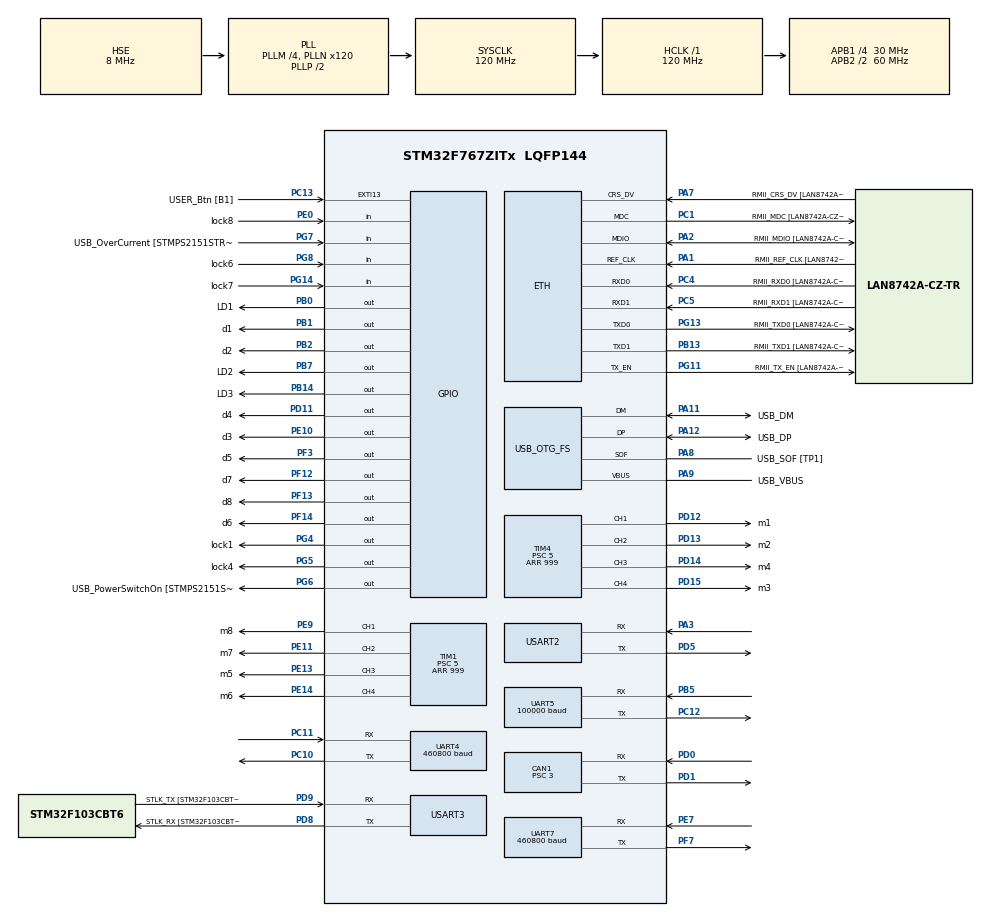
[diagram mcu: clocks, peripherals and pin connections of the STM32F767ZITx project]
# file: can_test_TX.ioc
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CAN1.BS1=CAN_BS1_7TQ
CAN1.BS2=CAN_BS2_2TQ
CAN1.CalculateBaudRate=1000000
CAN1.CalculateTimeBit=1000
CAN1.CalculateTimeQuantum=100.0
CAN1.NART=ENABLE
CAN1.Prescaler=3
CORTEX_M7.default_mode_Activation=1
Dma.Request0=UART5_RX
Dma.Request1=UART4_RX
Dma.Request2=UART7_RX
Dma.UART4_RX.1.Direction=DMA_PERIPH_TO_MEMORY
Dma.UART4_RX.1.FIFOMode=DMA_FIFOMODE_DISABLE
Dma.UART4_RX.1.Instance=DMA1_Stream2
Dma.UART4_RX.1.MemDataAlignment=DMA_MDATAALIGN_BYTE
Dma.UART4_RX.1.MemInc=DMA_MINC_ENABLE
Dma.UART4_RX.1.Mode=DMA_CIRCULAR
Dma.UART4_RX.1.PeriphDataAlignment=DMA_PDATAALIGN_BYTE
Dma.UART4_RX.1.PeriphInc=DMA_PINC_DISABLE
Dma.UART4_RX.1.Priority=DMA_PRIORITY_LOW
Dma.UART5_RX.0.Direction=DMA_PERIPH_TO_MEMORY
Dma.UART5_RX.0.FIFOMode=DMA_FIFOMODE_DISABLE
Dma.UART5_RX.0.Instance=DMA1_Stream0
Dma.UART5_RX.0.MemDataAlignment=DMA_MDATAALIGN_BYTE
Dma.UART5_RX.0.MemInc=DMA_MINC_ENABLE
Dma.UART5_RX.0.Mode=DMA_NORMAL
Dma.UART5_RX.0.PeriphDataAlignment=DMA_PDATAALIGN_BYTE
Dma.UART5_RX.0.PeriphInc=DMA_PINC_DISABLE
Dma.UART5_RX.0.Priority=DMA_PRIORITY_LOW
Dma.UART7_RX.2.Direction=DMA_PERIPH_TO_MEMORY
Dma.UART7_RX.2.FIFOMode=DMA_FIFOMODE_DISABLE
Dma.UART7_RX.2.Instance=DMA1_Stream3
Dma.UART7_RX.2.MemDataAlignment=DMA_MDATAALIGN_BYTE
Dma.UART7_RX.2.MemInc=DMA_MINC_ENABLE
Dma.UART7_RX.2.Mode=DMA_CIRCULAR
Dma.UART7_RX.2.PeriphDataAlignment=DMA_PDATAALIGN_BYTE
Dma.UART7_RX.2.PeriphInc=DMA_PINC_DISABLE
Dma.UART7_RX.2.Priority=DMA_PRIORITY_LOW
ETH.MediaInterface=HAL_ETH_RMII_MODE
ETH.PHY_Name=LAN8742A_PHY_ADDRESS
ETH.PHY_Value=0
ETH.PhyAddress=0
Mcu.Family=STM32F7
Mcu.Name=STM32F767ZITx
Mcu.Package=LQFP144
NVIC.CAN1_RX0_IRQn=true\:0\:0\:false\:false\:true\:true\:true\:true
NVIC.CAN1_RX1_IRQn=true\:0\:0\:false\:false\:true\:true\:true\:true
NVIC.DMA1_Stream0_IRQn=true\:0\:0\:false\:false\:true\:false\:true\:true
NVIC.DMA1_Stream2_IRQn=true\:0\:0\:false\:false\:true\:false\:true\:true
NVIC.DMA1_Stream3_IRQn=true\:0\:0\:false\:false\:true\:false\:true\:true
NVIC.PriorityGroup=NVIC_PRIORITYGROUP_4
NVIC.TIM4_IRQn=true\:0\:0\:false\:false\:true\:true\:true\:true
NVIC.UART4_IRQn=true\:0\:0\:false\:false\:true\:true\:true\:true
NVIC.UART5_IRQn=true\:0\:0\:false\:false\:true\:true\:true\:true
NVIC.UART7_IRQn=true\:0\:0\:false\:false\:true\:true\:true\:true
PA1.GPIO_Label=RMII_REF_CLK [LAN8742A-CZ-TR_REFCLK0]
PA1.Mode=RMII
PA1.Signal=ETH_REF_CLK
PA10.GPIO_Label=USB_ID
PA10.Signal=USB_OTG_FS_ID
PA11.GPIO_Label=USB_DM
PA11.Mode=Device_Only
PA11.Signal=USB_OTG_FS_DM
PA12.GPIO_Label=USB_DP
PA12.Mode=Device_Only
PA12.Signal=USB_OTG_FS_DP
PA13.GPIO_Label=TMS
PA13.Mode=Serial_Wire
PA13.Signal=SYS_JTMS-SWDIO
PA14.GPIO_Label=TCK
PA14.Mode=Serial_Wire
PA14.Signal=SYS_JTCK-SWCLK
PA2.GPIO_Label=RMII_MDIO [LAN8742A-CZ-TR_MDIO]
PA2.Mode=RMII
PA2.Signal=ETH_MDIO
PA3.Mode=Asynchronous
PA3.Signal=USART2_RX
PA7.GPIO_Label=RMII_CRS_DV [LAN8742A-CZ-TR_CRS_DV]
PA7.Mode=RMII
PA7.Signal=ETH_CRS_DV
PA8.GPIO_Label=USB_SOF [TP1]
PA8.Mode=Activate_SOF_FS
PA8.Signal=USB_OTG_FS_SOF
PA9.GPIO_Label=USB_VBUS
PA9.Mode=Activate_VBUS
PA9.Signal=USB_OTG_FS_VBUS
PB0.GPIO_Label=LD1
PB0.Signal=GPIO_Output
PB1.GPIO_Label=d1
PB1.Signal=GPIO_Output
PB13.GPIO_Label=RMII_TXD1 [LAN8742A-CZ-TR_TXD1]
PB13.Mode=RMII
PB13.Signal=ETH_TXD1
PB14.GPIO_Label=LD3
PB14.Signal=GPIO_Output
PB2.GPIO_Label=d2
PB2.Signal=GPIO_Output
PB3.GPIO_Label=SWO
PB3.Signal=SYS_JTDO-SWO
PB5.Mode=Asynchronous
PB5.Signal=UART5_RX
PB7.GPIO_Label=LD2
PB7.Signal=GPIO_Output
PC1.GPIO_Label=RMII_MDC [LAN8742A-CZ-TR_MDC]
PC1.Mode=RMII
PC1.Signal=ETH_MDC
PC10.Mode=Asynchronous
PC10.Signal=UART4_TX
PC11.Mode=Asynchronous
PC11.Signal=UART4_RX
PC12.Mode=Asynchronous
PC12.Signal=UART5_TX
PC13.GPIO_Label=USER_Btn [B1]
PC13.Signal=GPXTI13
PC14/OSC32_IN.Mode=LSE-External-Oscillator
PC14/OSC32_IN.Signal=RCC_OSC32_IN
PC15/OSC32_OUT.Mode=LSE-External-Oscillator
PC15/OSC32_OUT.Signal=RCC_OSC32_OUT
PC4.GPIO_Label=RMII_RXD0 [LAN8742A-CZ-TR_RXD0]
PC4.Mode=RMII
PC4.Signal=ETH_RXD0
PC5.GPIO_Label=RMII_RXD1 [LAN8742A-CZ-TR_RXD1]
PC5.Mode=RMII
PC5.Signal=ETH_RXD1
PD0.Mode=CAN_Activate
PD0.Signal=CAN1_RX
PD1.Mode=CAN_Activate
PD1.Signal=CAN1_TX
PD11.GPIO_Label=d4
PD11.Signal=GPIO_Output
PD12.GPIO_Label=m1
PD12.Signal=S_TIM4_CH1
PD13.GPIO_Label=m2
PD13.Signal=S_TIM4_CH2
PD14.GPIO_Label=m4
PD14.Signal=S_TIM4_CH3
PD15.GPIO_Label=m3
PD15.Signal=S_TIM4_CH4
PD5.Mode=Asynchronous
PD5.Signal=USART2_TX
PD8.GPIO_Label=STLK_RX [STM32F103CBT6_PA3]
PD8.Mode=Asynchronous
PD8.Signal=USART3_TX
PD9.GPIO_Label=STLK_TX [STM32F103CBT6_PA2]
PD9.Mode=Asynchronous
PD9.Signal=USART3_RX
PE0.GPIO_Label=lock8
PE0.GPIO_PuPd=GPIO_PULLUP
PE0.Signal=GPIO_Input
PE10.GPIO_Label=d3
PE10.Signal=GPIO_Output
PE11.GPIO_Label=m7
PE11.Signal=S_TIM1_CH2
PE13.GPIO_Label=m5
PE13.Signal=S_TIM1_CH3
PE14.GPIO_Label=m6
PE14.Signal=S_TIM1_CH4
PE7.Mode=Asynchronous
PE7.Signal=UART7_RX
PE9.GPIO_Label=m8
PE9.Signal=S_TIM1_CH1
PF12.GPIO_Label=d7
PF12.Signal=GPIO_Output
PF13.GPIO_Label=d8
PF13.Signal=GPIO_Output
PF14.GPIO_Label=d6
PF14.Signal=GPIO_Output
PF3.GPIO_Label=d5
PF3.Signal=GPIO_Output
PF7.Mode=Asynchronous
PF7.Signal=UART7_TX
PG11.GPIO_Label=RMII_TX_EN [LAN8742A-CZ-TR_TXEN]
PG11.Mode=RMII
PG11.Signal=ETH_TX_EN
PG13.GPIO_Label=RMII_TXD0 [LAN8742A-CZ-TR_TXD0]
PG13.Mode=RMII
PG13.Signal=ETH_TXD0
PG14.GPIO_Label=lock7
PG14.GPIO_PuPd=GPIO_PULLUP
PG14.Signal=GPIO_Input
PG4.GPIO_Label=lock1
PG4.Signal=GPIO_Output
PG5.GPIO_Label=lock4
PG5.Signal=GPIO_Output
PG6.GPIO_Label=USB_PowerSwitchOn [STMPS2151STR_EN]
PG6.Signal=GPIO_Output
PG7.GPIO_Label=USB_OverCurrent [STMPS2151STR_FAULT]
PG7.Signal=GPIO_Input
PG8.GPIO_Label=lock6
PG8.GPIO_PuPd=GPIO_PULLUP
PG8.Signal=GPIO_Input
PH0/OSC_IN.GPIO_Label=MCO [STM32F103CBT6_PA8]
PH0/OSC_IN.Mode=HSE-External-Clock-Source
PH0/OSC_IN.Signal=RCC_OSC_IN
PH1/OSC_OUT.Mode=HSE-External-Clock-Source
PH1/OSC_OUT.Signal=RCC_OSC_OUT
ProjectManager.HeapSize=0x200
ProjectManager.StackSize=0x400
ProjectManager.TargetToolchain=CMake
RCC.48MHZClocksFreq_Value=24000000
RCC.AHBFreq_Value=120000000
RCC.APB1CLKDivider=RCC_HCLK_DIV4
RCC.APB1Freq_Value=30000000
RCC.APB1TimFreq_Value=60000000
RCC.APB2CLKDivider=RCC_HCLK_DIV2
RCC.APB2Freq_Value=60000000
RCC.APB2TimFreq_Value=120000000
RCC.CortexFreq_Value=120000000
RCC.HCLKFreq_Value=120000000
RCC.HSE_VALUE=8000000
RCC.HSI_VALUE=16000000
RCC.PLLM=4
RCC.PLLMUL=RCC_PLL_MUL9
RCC.PLLN=120
RCC.PLLQ=5
RCC.PRESCALERUSB=RCC_USBCLKSOURCE_PLL_DIV1_5
RCC.SYSCLKFreq_VALUE=120000000
RCC.SYSCLKSource=RCC_SYSCLKSOURCE_PLLCLK
RCC.SYSCLKSourceVirtual=RCC_SYSCLKSOURCE_PLLCLK
RCC.USBFreq_Value=48000000
RCC.VCOOutputFreq_Value=240000000
SH.S_TIM1_CH1.0=TIM1_CH1,PWM Generation1 CH1
SH.S_TIM1_CH2.0=TIM1_CH2,PWM Generation2 CH2
SH.S_TIM1_CH3.0=TIM1_CH3,PWM Generation3 CH3
SH.S_TIM1_CH4.0=TIM1_CH4,PWM Generation4 CH4
SH.S_TIM4_CH1.0=TIM4_CH1,PWM Generation1 CH1
SH.S_TIM4_CH2.0=TIM4_CH2,PWM Generation2 CH2
SH.S_TIM4_CH3.0=TIM4_CH3,PWM Generation3 CH3
SH.S_TIM4_CH4.0=TIM4_CH4,PWM Generation4 CH4
TIM1.Channel-PWM\ Generation1\ CH1=TIM_CHANNEL_1
TIM1.Channel-PWM\ Generation2\ CH2=TIM_CHANNEL_2
TIM1.Channel-PWM\ Generation3\ CH3=TIM_CHANNEL_3
TIM1.Channel-PWM\ Generation4\ CH4=TIM_CHANNEL_4
TIM1.Period=999
TIM1.Prescaler=5
TIM4.Channel-PWM\ Generation1\ CH1=TIM_CHANNEL_1
TIM4.Channel-PWM\ Generation2\ CH2=TIM_CHANNEL_2
TIM4.Channel-PWM\ Generation3\ CH3=TIM_CHANNEL_3
TIM4.Channel-PWM\ Generation4\ CH4=TIM_CHANNEL_4
TIM4.Period=999
TIM4.Prescaler=5
UART4.BaudRate=460800
UART4.WordLength=WORDLENGTH_8B
UART5.BaudRate=100000
UART5.Parity=PARITY_EVEN
UART5.RxPinLevelInvertParam=UART_ADVFEATURE_RXINV_ENABLE
UART5.StopBits=UART_STOPBITS_2
UART5.WordLength=WORDLENGTH_9B
UART7.BaudRate=460800
USART2.VirtualMode-Asynchronous=VM_ASYNC
USART3.VirtualMode-Asynchronous=VM_ASYNC
USB_OTG_FS.VirtualMode=Device_Only
VP_TIM1_VS_ClockSourceINT.Mode=Internal
VP_TIM4_VS_ClockSourceINT.Mode=Internal
board=NUCLEO-F767ZI

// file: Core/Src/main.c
/* USER CODE BEGIN Header */
/**
 ******************************************************************************
 * @file           : main.c
 * @brief          : Main program body
 ******************************************************************************
 * @attention
 *
 * Copyright (c) 2026 STMicroelectronics.
 * All rights reserved.
 *
 * This software is licensed under terms that can be found in the LICENSE file
 * in the root directory of this software component.
 * If no LICENSE file comes with this software, it is provided AS-IS.
 *
 ******************************************************************************
 */
/* USER CODE END Header */
#include "main.h"
#include "string.h"

/* USER CODE BEGIN Includes */
#include "sbus.h"
#include "function.h"
#include "sbus_handler.h"
#include "lidar_sensor.h"
#include <math.h>
#include <stdint.h>
#include <stdio.h>
#include <stdlib.h>

/* USER CODE END Includes */

#if defined ( __ICCARM__ ) /*!< IAR Compiler */
#pragma location=0x2007c000
ETH_DMADescTypeDef  DMARxDscrTab[ETH_RX_DESC_CNT]; /* Ethernet Rx DMA Descriptors */
#pragma location=0x2007c0a0
ETH_DMADescTypeDef  DMATxDscrTab[ETH_TX_DESC_CNT]; /* Ethernet Tx DMA Descriptors */

#elif defined ( __CC_ARM )  /* MDK ARM Compiler */

__attribute__((at(0x2007c000))) ETH_DMADescTypeDef  DMARxDscrTab[ETH_RX_DESC_CNT]; /* Ethernet Rx DMA Descriptors */
__attribute__((at(0x2007c0a0))) ETH_DMADescTypeDef  DMATxDscrTab[ETH_TX_DESC_CNT]; /* Ethernet Tx DMA Descriptors */

#elif defined ( __GNUC__ ) /* GNU Compiler */

ETH_DMADescTypeDef DMARxDscrTab[ETH_RX_DESC_CNT] __attribute__((section(".RxDecripSection"))); /* Ethernet Rx DMA Descriptors */
ETH_DMADescTypeDef DMATxDscrTab[ETH_TX_DESC_CNT] __attribute__((section(".TxDecripSection")));   /* Ethernet Tx DMA Descriptors */
#endif

ETH_TxPacketConfig TxConfig;

CAN_HandleTypeDef hcan1;

ETH_HandleTypeDef heth;

TIM_HandleTypeDef htim1;
TIM_HandleTypeDef htim4;

UART_HandleTypeDef huart4;
UART_HandleTypeDef huart5;
UART_HandleTypeDef huart7;
UART_HandleTypeDef huart2;
UART_HandleTypeDef huart3;
DMA_HandleTypeDef hdma_uart4_rx;
DMA_HandleTypeDef hdma_uart5_rx;
DMA_HandleTypeDef hdma_uart7_rx;

PCD_HandleTypeDef hpcd_USB_OTG_FS;

/* USER CODE BEGIN PV */

int rx;   // rxスティック
int ly;   // lyスティック
int ry;   // ryスティック
int lx;   // lxスティック

int Lmayu;
int Rmayu;
int Ltuno;
int Rtuno;

volatile int m1;
volatile int m2;
volatile int m3;
volatile int m4;

int d1;
int d2;
int d3;
int d4;

volatile int16_t PV1 = 0; // 現在値
volatile int16_t PV2 = 0; // 現在値
volatile int16_t PV3 = 0; // 現在値
volatile int16_t PV4 = 0; // 現在値
volatile int16_t PV5 = 0; // 現在値
volatile int16_t PV6 = 0; // 現在値

int dir1 = 0;
int dir2 = 0;
int dir3 = 0;
int dir4 = 0;

int pwm1 = 0;
int pwm2 = 0;
int pwm3 = 0;
int pwm4 = 0;
int pwm5 = 0;
int pwm6 = 0;
int pwm7 = 0;
int pwm8 = 0;

int maxpwm = (1000 * 7) / 10; // 最大PWM値を0.7倍にして減速させる
//int test;

int maxmv = 150;

int stop_flag = 0;
int timer_flag = 0;
int reset_flag = 0;
int set_flag = 0;

int roller_dir = 0; // ローラーの回転方向を保持する変数

int dummy = 0;

//lidar
// UART4 用（センサー1）
uint8_t rx_dma_buf4[DMA_BUF_SIZE];
uint16_t distance4 = 0;

// UART7 用（センサー2）
uint8_t rx_dma_buf7[DMA_BUF_SIZE];
uint16_t distance7 = 0;

// 自動モード時の仮想スティック出力
int auto_ly = 0; // 左右移動
int auto_rx = 0; // 旋回

//timercount
uint32_t time1 = 0;
uint32_t time2 = 0;
//uint32_t time3 = 0;
uint32_t now = 0;

uint32_t last_can_rx = 0;

// SBUS

uint8_t sbus_rxbuf[SBUS_FRAME_LEN];
uint8_t sbus_frame[SBUS_FRAME_LEN];
volatile uint16_t SBUS_CH[16];
uint8_t SBUS_Failsafe = 0;
uint8_t SBUS_LostFrame = 0;

// RX割り込みコールバック関数で使用
volatile uint8_t use_data[8];

/* USER CODE END PV */

void SystemClock_Config(void);
static void MPU_Config(void);
static void MX_GPIO_Init(void);
static void MX_DMA_Init(void);
static void MX_CAN1_Init(void);
static void MX_ETH_Init(void);
static void MX_USB_OTG_FS_PCD_Init(void);
static void MX_UART5_Init(void);
static void MX_USART2_UART_Init(void);
static void MX_USART3_UART_Init(void);
static void MX_TIM4_Init(void);
static void MX_TIM1_Init(void);
static void MX_UART4_Init(void);
static void MX_UART7_Init(void);
/* USER CODE BEGIN PFP */

// if(sbus_frame[0] != 0x0F)
/* USER CODE END PFP */

int main(void)
{

  /* USER CODE BEGIN 1 */

    setbuf(stdout, NULL);
  /* USER CODE END 1 */

  /* MPU Configuration--------------------------------------------------------*/
  MPU_Config();

  /* MCU Configuration--------------------------------------------------------*/

  /* Reset of all peripherals, Initializes the Flash interface and the Systick. */
  HAL_Init();

  /* Configure the system clock */
  SystemClock_Config();

  /* Initialize all configured peripherals */
  MX_GPIO_Init();
  MX_DMA_Init();
  MX_CAN1_Init();
  MX_ETH_Init();
  MX_USB_OTG_FS_PCD_Init();
  MX_UART5_Init();
  MX_USART2_UART_Init();
  MX_USART3_UART_Init();
  MX_TIM4_Init();
  MX_TIM1_Init();
  MX_UART4_Init();
  MX_UART7_Init();
  /* USER CODE BEGIN 2 */
    HAL_CAN_Start(&hcan1); // CANstart
    HAL_CAN_ActivateNotification(&hcan1,
    CAN_IT_RX_FIFO0_MSG_PENDING); // 割り込み有効

    HAL_TIM_PWM_Start(&htim4, TIM_CHANNEL_1);
    HAL_TIM_PWM_Start(&htim4, TIM_CHANNEL_2);
    HAL_TIM_PWM_Start(&htim4, TIM_CHANNEL_3);
    HAL_TIM_PWM_Start(&htim4, TIM_CHANNEL_4);

    HAL_TIM_PWM_Start(&htim1, TIM_CHANNEL_1);
    HAL_TIM_PWM_Start(&htim1, TIM_CHANNEL_2);
    HAL_TIM_PWM_Start(&htim1, TIM_CHANNEL_3);
    HAL_TIM_PWM_Start(&htim1, TIM_CHANNEL_4);

    SBUS_Init(); // ★【修正】SBUSの受信を開始

  HAL_Delay(100); // センサーの起動待ち

  // 1. センサーに「Start Reading（測定開始）」のコマンドだけを送る
  uint8_t startCmd[] = {0x5A, 0x0A, 0x02, 0x02, 0x00, 0xF1};
  // センサー1 (UART4) に送信 & DMAスタート
  HAL_UART_Transmit(&huart4, startCmd, sizeof(startCmd), HAL_MAX_DELAY);
  HAL_UART_Transmit(&huart7, startCmd, sizeof(startCmd), HAL_MAX_DELAY);
  HAL_Delay(20);
  HAL_UART_Receive_DMA(&huart4, rx_dma_buf4, DMA_BUF_SIZE);
  HAL_UART_Receive_DMA(&huart7, rx_dma_buf7, DMA_BUF_SIZE);

  /* USER CODE END 2 */

  /* Infinite loop */
  /* USER CODE BEGIN WHILE */
    while (1) {
      now = HAL_GetTick();
        PV1 = map(use_data[0],0, 255, 0, 1000);
        PV2 = map(use_data[1],0, 255, 0, 1000);
        PV3 = map(use_data[2],0, 255, 0, 1000);
        PV4 = map(use_data[3],0, 255, 0, 1000);
        PV5 = map(use_data[4],0, 255, 0, 1000);
        PV6 = map(use_data[5],0, 255, 0, 1000);

        sbus();//SBUSの値の加工

        lidar();//lidarの値の読み取り

        if(HAL_GPIO_ReadPin(lock6_GPIO_Port, lock6_Pin) == 0){
          stop_flag = 1;
        }
        if(HAL_GPIO_ReadPin(lock7_GPIO_Port, lock7_Pin) == 0){
          reset_flag = 1;
        }
        if(HAL_GPIO_ReadPin(lock8_GPIO_Port, lock8_Pin) == 0){
          set_flag = 1;
        }

    // 足回り
   if (now - time1 >= 20) {
      if(Rtuno == 1) {
        // 手動モード
        auto_mode(distance4 ,distance7, 1,1000); // ★追加：裏でPIDの記憶をリセットしておく
        motor_control(m1, PV1, maxmv, maxmv, maxpwm, &pwm1, &dir1);
        motor_control(m2, PV2, maxmv, maxmv, maxpwm, &pwm2, &dir2);
        motor_control(m3, PV3, maxmv, maxmv, maxpwm, &pwm3, &dir3);
        motor_control(m4, PV4, maxmv, maxmv, maxpwm, &pwm4, &dir4);
      } else if(Rtuno == 0){
        auto_mode(distance4 - 11, distance7 - 38, 0,(distance4  + distance7 -49) / 2);
        int gauto_m1 =  ly - lx + auto_rx;
        int gauto_m2 = -ly - lx + auto_rx;
        int gauto_m3 = -ly + lx + auto_rx;
        int gauto_m4 =  ly + lx + auto_rx;

        motor_control(gauto_m1, PV1, maxmv, maxmv, maxpwm, &pwm1, &dir1);
        motor_control(gauto_m2, PV2, maxmv, maxmv, maxpwm, &pwm2, &dir2);
        motor_control(gauto_m3, PV3, maxmv, maxmv, maxpwm, &pwm3, &dir3);
        motor_control(gauto_m4, PV4, maxmv, maxmv, maxpwm, &pwm4, &dir4);

      }else if(Rtuno == -1) {
        // 自動モード
        auto_mode(distance4 + -11, distance7 - 38, 0,500); // ★修正：通常計算

        // 自動計算された ly, rx を使って m1〜m4 を計算（あなたの式を再利用！）
        int auto_m1 =  -auto_ly - lx + auto_rx;
        int auto_m2 =   auto_ly - lx + auto_rx;
        int auto_m3 =   auto_ly + lx + auto_rx;
        int auto_m4 =  -auto_ly + lx + auto_rx;

        // 計算結果をモーターに出力
        motor_control(auto_m1, PV1, maxmv, maxmv, maxpwm, &pwm1, &dir1);
        motor_control(auto_m2, PV2, maxmv, maxmv, maxpwm, &pwm2, &dir2);
        motor_control(auto_m3, PV3, maxmv, maxmv, maxpwm, &pwm3, &dir3);
        motor_control(auto_m4, PV4, maxmv, maxmv, maxpwm, &pwm4, &dir4);
      }

      roller();

      time1 = now;
    }

    // 電磁弁
    if (Rmayu == 0) {
        HAL_GPIO_WritePin(lock1_GPIO_Port, lock1_Pin, 0);
        HAL_GPIO_WritePin(lock4_GPIO_Port, lock4_Pin, 0);
    } else if (Rmayu == 1) {
        HAL_GPIO_WritePin(lock1_GPIO_Port, lock1_Pin, 1);
        HAL_GPIO_WritePin(lock4_GPIO_Port, lock4_Pin, 0);
    } else if (Rmayu == -1) {
        HAL_GPIO_WritePin(lock1_GPIO_Port, lock1_Pin, 0);
        HAL_GPIO_WritePin(lock4_GPIO_Port, lock4_Pin, 1);
    }

    safety(); // 安全機能の呼び出し

    // デバッグ用のprintf、100msごとに出力
    uint32_t time = 0;
    if (HAL_GetTick() - time >= 100) {
      //printf("data0:%d data1:%d data2:%d data3:%d data4:%d data5:%d data6:%d data7:%d\n", use_data[0], use_data[1], use_data[2], use_data[3], use_data[4], use_data[5], use_data[6], use_data[7]);
       //printf("0:%d 1:%d 2:%d 3:%d 4:%d 5:%d 6:%d 7:%d\n", sbus0, sbus1, sbus2, sbus3 ,SBUS_CH[4], SBUS_CH[5], SBUS_CH[6], SBUS_CH[7]);
      // printf("PV1:%d PV2:%d  PV3:%d PV4:%d m1:%d m2:%d m3:%d m4:%d lastMV1:%.1f lastMV2:%.1f lastMV3:%.1f lastMV4:%.1f\n", PV1, PV2, PV3, PV4, m1, m2, m3, m4, (float)lastMV1, (float)lastMV2, (float)lastMV3, (float)lastMV4);
      // printf("m1:%d d1:%d m2:%d d2:%d m3:%d d3:%d m4:%d d4:%d ltsw:%d rtsw:%d pwm1 %d\n", m1, d1, m2, d2, m3, d3, m4, d4,ltsw,rtsw,pwm1);
      //printf("stop_flag: %d\n", stop_flag);
      //printf("distance4: %d distance7: %d\n", distance4, distance7);
      printf("pwm5:%d pwm6:%d PV5:%d  PV6:%d\n",pwm5,pwm6,PV5,PV6);
      time = HAL_GetTick(); // 時間更新
    }

    //motor
    __HAL_TIM_SET_COMPARE(&htim4, TIM_CHANNEL_4, pwm1); // m1 LF
    HAL_GPIO_WritePin(d3_GPIO_Port, d3_Pin, dir1);
    __HAL_TIM_SET_COMPARE(&htim4, TIM_CHANNEL_3, pwm2); // m2 RF
    HAL_GPIO_WritePin(d4_GPIO_Port, d4_Pin, dir2);
    __HAL_TIM_SET_COMPARE(&htim4, TIM_CHANNEL_1, pwm3); // m3 LB
    HAL_GPIO_WritePin(d1_GPIO_Port, d1_Pin, dir3);
    __HAL_TIM_SET_COMPARE(&htim4, TIM_CHANNEL_2, pwm4); // m4  RB
    HAL_GPIO_WritePin(d2_GPIO_Port, d2_Pin, dir4);

    __HAL_TIM_SET_COMPARE(&htim1, TIM_CHANNEL_2, pwm5); // m5 ue
    HAL_GPIO_WritePin(d7_GPIO_Port, d7_Pin, 0);
    __HAL_TIM_SET_COMPARE(&htim1, TIM_CHANNEL_1, pwm6); // m6 sita
    HAL_GPIO_WritePin(d8_GPIO_Port, d8_Pin, 1);
    __HAL_TIM_SET_COMPARE(&htim1, TIM_CHANNEL_3, pwm7); // m7 souten
    HAL_GPIO_WritePin(d5_GPIO_Port, d5_Pin, roller_dir);
    __HAL_TIM_SET_COMPARE(&htim1, TIM_CHANNEL_4, pwm8); // m8
    HAL_GPIO_WritePin(d6_GPIO_Port, d6_Pin, 1);

    /* USER CODE END WHILE */

  }
}

void SystemClock_Config(void)
{
  RCC_OscInitTypeDef RCC_OscInitStruct = {0};
  RCC_ClkInitTypeDef RCC_ClkInitStruct = {0};

  /** Configure LSE Drive Capability
  */
  HAL_PWR_EnableBkUpAccess();

  /** Configure the main internal regulator output voltage
  */
  __HAL_RCC_PWR_CLK_ENABLE();
  __HAL_PWR_VOLTAGESCALING_CONFIG(PWR_REGULATOR_VOLTAGE_SCALE3);

  /** Initializes the RCC Oscillators according to the specified parameters
  * in the RCC_OscInitTypeDef structure.
  */
  RCC_OscInitStruct.OscillatorType = RCC_OSCILLATORTYPE_HSE;
  RCC_OscInitStruct.HSEState = RCC_HSE_BYPASS;
  RCC_OscInitStruct.PLL.PLLState = RCC_PLL_ON;
  RCC_OscInitStruct.PLL.PLLSource = RCC_PLLSOURCE_HSE;
  RCC_OscInitStruct.PLL.PLLM = 4;
  RCC_OscInitStruct.PLL.PLLN = 120;
  RCC_OscInitStruct.PLL.PLLP = RCC_PLLP_DIV2;
  RCC_OscInitStruct.PLL.PLLQ = 5;
  RCC_OscInitStruct.PLL.PLLR = 2;
  if (HAL_RCC_OscConfig(&RCC_OscInitStruct) != HAL_OK)
  {
    Error_Handler();
  }

  /** Initializes the CPU, AHB and APB buses clocks
  */
  RCC_ClkInitStruct.ClockType = RCC_CLOCKTYPE_HCLK|RCC_CLOCKTYPE_SYSCLK
                              |RCC_CLOCKTYPE_PCLK1|RCC_CLOCKTYPE_PCLK2;
  RCC_ClkInitStruct.SYSCLKSource = RCC_SYSCLKSOURCE_PLLCLK;
  RCC_ClkInitStruct.AHBCLKDivider = RCC_SYSCLK_DIV1;
  RCC_ClkInitStruct.APB1CLKDivider = RCC_HCLK_DIV4;
  RCC_ClkInitStruct.APB2CLKDivider = RCC_HCLK_DIV2;

  if (HAL_RCC_ClockConfig(&RCC_ClkInitStruct, FLASH_LATENCY_3) != HAL_OK)
  {
    Error_Handler();
  }
}

static void MX_CAN1_Init(void)
{

  hcan1.Instance = CAN1;
  hcan1.Init.Prescaler = 3;
  hcan1.Init.Mode = CAN_MODE_NORMAL;
  hcan1.Init.SyncJumpWidth = CAN_SJW_1TQ;
  hcan1.Init.TimeSeg1 = CAN_BS1_7TQ;
  hcan1.Init.TimeSeg2 = CAN_BS2_2TQ;
  hcan1.Init.TimeTriggeredMode = DISABLE;
  hcan1.Init.AutoBusOff = DISABLE;
  hcan1.Init.AutoWakeUp = DISABLE;
  hcan1.Init.AutoRetransmission = ENABLE;
  hcan1.Init.ReceiveFifoLocked = DISABLE;
  hcan1.Init.TransmitFifoPriority = DISABLE;
  if (HAL_CAN_Init(&hcan1) != HAL_OK)
  {
    Error_Handler();
  }
  /* USER CODE BEGIN CAN1_Init 2 */
  CAN_FilterTypeDef filter;
  filter.FilterIdHigh = 0x001 << 5;               // フィルターID1
  filter.FilterIdLow = 0x002 << 5;                // フィルターID2
  filter.FilterMaskIdHigh = 0x003 << 5;           // フィルターID3
  filter.FilterMaskIdLow = 0x004 << 5;            // フィルターID4
  filter.FilterScale = CAN_FILTERSCALE_16BIT;     // 16モード
  filter.FilterFIFOAssignment = CAN_FILTER_FIFO0; // FIFO0へ格納
  filter.FilterBank = 0;
  filter.FilterMode = CAN_FILTERMODE_IDLIST; // IDリストモード
  filter.SlaveStartFilterBank = 14;
  filter.FilterActivation = ENABLE;

  HAL_CAN_ConfigFilter(&hcan1, &filter);

  /* USER CODE END CAN1_Init 2 */

}

static void MX_ETH_Init(void)
{

   static uint8_t MACAddr[6];

  heth.Instance = ETH;
  MACAddr[0] = 0x00;
  MACAddr[1] = 0x80;
  MACAddr[2] = 0xE1;
  MACAddr[3] = 0x00;
  MACAddr[4] = 0x00;
  MACAddr[5] = 0x00;
  heth.Init.MACAddr = &MACAddr[0];
  heth.Init.MediaInterface = HAL_ETH_RMII_MODE;
  heth.Init.TxDesc = DMATxDscrTab;
  heth.Init.RxDesc = DMARxDscrTab;
  heth.Init.RxBuffLen = 1524;

  if (HAL_ETH_Init(&heth) != HAL_OK)
  {
    Error_Handler();
  }

  memset(&TxConfig, 0 , sizeof(ETH_TxPacketConfig));
  TxConfig.Attributes = ETH_TX_PACKETS_FEATURES_CSUM | ETH_TX_PACKETS_FEATURES_CRCPAD;
  TxConfig.ChecksumCtrl = ETH_CHECKSUM_IPHDR_PAYLOAD_INSERT_PHDR_CALC;
  TxConfig.CRCPadCtrl = ETH_CRC_PAD_INSERT;

}

static void MX_TIM1_Init(void)
{

  TIM_ClockConfigTypeDef sClockSourceConfig = {0};
  TIM_MasterConfigTypeDef sMasterConfig = {0};
  TIM_OC_InitTypeDef sConfigOC = {0};
  TIM_BreakDeadTimeConfigTypeDef sBreakDeadTimeConfig = {0};

  htim1.Instance = TIM1;
  htim1.Init.Prescaler = 5;
  htim1.Init.CounterMode = TIM_COUNTERMODE_UP;
  htim1.Init.Period = 999;
  htim1.Init.ClockDivision = TIM_CLOCKDIVISION_DIV1;
  htim1.Init.RepetitionCounter = 0;
  htim1.Init.AutoReloadPreload = TIM_AUTORELOAD_PRELOAD_DISABLE;
  if (HAL_TIM_Base_Init(&htim1) != HAL_OK)
  {
    Error_Handler();
  }
  sClockSourceConfig.ClockSource = TIM_CLOCKSOURCE_INTERNAL;
  if (HAL_TIM_ConfigClockSource(&htim1, &sClockSourceConfig) != HAL_OK)
  {
    Error_Handler();
  }
  if (HAL_TIM_PWM_Init(&htim1) != HAL_OK)
  {
    Error_Handler();
  }
  sMasterConfig.MasterOutputTrigger = TIM_TRGO_RESET;
  sMasterConfig.MasterOutputTrigger2 = TIM_TRGO2_RESET;
  sMasterConfig.MasterSlaveMode = TIM_MASTERSLAVEMODE_DISABLE;
  if (HAL_TIMEx_MasterConfigSynchronization(&htim1, &sMasterConfig) != HAL_OK)
  {
    Error_Handler();
  }
  sConfigOC.OCMode = TIM_OCMODE_PWM1;
  sConfigOC.Pulse = 0;
  sConfigOC.OCPolarity = TIM_OCPOLARITY_HIGH;
  sConfigOC.OCNPolarity = TIM_OCNPOLARITY_HIGH;
  sConfigOC.OCFastMode = TIM_OCFAST_DISABLE;
  sConfigOC.OCIdleState = TIM_OCIDLESTATE_RESET;
  sConfigOC.OCNIdleState = TIM_OCNIDLESTATE_RESET;
  if (HAL_TIM_PWM_ConfigChannel(&htim1, &sConfigOC, TIM_CHANNEL_1) != HAL_OK)
  {
    Error_Handler();
  }
  if (HAL_TIM_PWM_ConfigChannel(&htim1, &sConfigOC, TIM_CHANNEL_2) != HAL_OK)
  {
    Error_Handler();
  }
  if (HAL_TIM_PWM_ConfigChannel(&htim1, &sConfigOC, TIM_CHANNEL_3) != HAL_OK)
  {
    Error_Handler();
  }
  if (HAL_TIM_PWM_ConfigChannel(&htim1, &sConfigOC, TIM_CHANNEL_4) != HAL_OK)
  {
    Error_Handler();
  }
  sBreakDeadTimeConfig.OffStateRunMode = TIM_OSSR_DISABLE;
  sBreakDeadTimeConfig.OffStateIDLEMode = TIM_OSSI_DISABLE;
  sBreakDeadTimeConfig.LockLevel = TIM_LOCKLEVEL_OFF;
  sBreakDeadTimeConfig.DeadTime = 0;
  sBreakDeadTimeConfig.BreakState = TIM_BREAK_DISABLE;
  sBreakDeadTimeConfig.BreakPolarity = TIM_BREAKPOLARITY_HIGH;
  sBreakDeadTimeConfig.BreakFilter = 0;
  sBreakDeadTimeConfig.Break2State = TIM_BREAK2_DISABLE;
  sBreakDeadTimeConfig.Break2Polarity = TIM_BREAK2POLARITY_HIGH;
  sBreakDeadTimeConfig.Break2Filter = 0;
  sBreakDeadTimeConfig.AutomaticOutput = TIM_AUTOMATICOUTPUT_DISABLE;
  if (HAL_TIMEx_ConfigBreakDeadTime(&htim1, &sBreakDeadTimeConfig) != HAL_OK)
  {
    Error_Handler();
  }
  HAL_TIM_MspPostInit(&htim1);

}

static void MX_TIM4_Init(void)
{

  TIM_ClockConfigTypeDef sClockSourceConfig = {0};
  TIM_MasterConfigTypeDef sMasterConfig = {0};
  TIM_OC_InitTypeDef sConfigOC = {0};

  htim4.Instance = TIM4;
  htim4.Init.Prescaler = 5;
  htim4.Init.CounterMode = TIM_COUNTERMODE_UP;
  htim4.Init.Period = 999;
  htim4.Init.ClockDivision = TIM_CLOCKDIVISION_DIV1;
  htim4.Init.AutoReloadPreload = TIM_AUTORELOAD_PRELOAD_DISABLE;
  if (HAL_TIM_Base_Init(&htim4) != HAL_OK)
  {
    Error_Handler();
  }
  sClockSourceConfig.ClockSource = TIM_CLOCKSOURCE_INTERNAL;
  if (HAL_TIM_ConfigClockSource(&htim4, &sClockSourceConfig) != HAL_OK)
  {
    Error_Handler();
  }
  if (HAL_TIM_PWM_Init(&htim4) != HAL_OK)
  {
    Error_Handler();
  }
  sMasterConfig.MasterOutputTrigger = TIM_TRGO_RESET;
  sMasterConfig.MasterSlaveMode = TIM_MASTERSLAVEMODE_DISABLE;
  if (HAL_TIMEx_MasterConfigSynchronization(&htim4, &sMasterConfig) != HAL_OK)
  {
    Error_Handler();
  }
  sConfigOC.OCMode = TIM_OCMODE_PWM1;
  sConfigOC.Pulse = 0;
  sConfigOC.OCPolarity = TIM_OCPOLARITY_HIGH;
  sConfigOC.OCFastMode = TIM_OCFAST_DISABLE;
  if (HAL_TIM_PWM_ConfigChannel(&htim4, &sConfigOC, TIM_CHANNEL_1) != HAL_OK)
  {
    Error_Handler();
  }
  if (HAL_TIM_PWM_ConfigChannel(&htim4, &sConfigOC, TIM_CHANNEL_2) != HAL_OK)
  {
    Error_Handler();
  }
  if (HAL_TIM_PWM_ConfigChannel(&htim4, &sConfigOC, TIM_CHANNEL_3) != HAL_OK)
  {
    Error_Handler();
  }
  if (HAL_TIM_PWM_ConfigChannel(&htim4, &sConfigOC, TIM_CHANNEL_4) != HAL_OK)
  {
    Error_Handler();
  }
  HAL_TIM_MspPostInit(&htim4);

}

static void MX_UART4_Init(void)
{

  huart4.Instance = UART4;
  huart4.Init.BaudRate = 460800;
  huart4.Init.WordLength = UART_WORDLENGTH_8B;
  huart4.Init.StopBits = UART_STOPBITS_1;
  huart4.Init.Parity = UART_PARITY_NONE;
  huart4.Init.Mode = UART_MODE_TX_RX;
  huart4.Init.HwFlowCtl = UART_HWCONTROL_NONE;
  huart4.Init.OverSampling = UART_OVERSAMPLING_16;
  huart4.Init.OneBitSampling = UART_ONE_BIT_SAMPLE_DISABLE;
  huart4.AdvancedInit.AdvFeatureInit = UART_ADVFEATURE_NO_INIT;
  if (HAL_UART_Init(&huart4) != HAL_OK)
  {
    Error_Handler();
  }

}

static void MX_UART5_Init(void)
{

  huart5.Instance = UART5;
  huart5.Init.BaudRate = 100000;
  huart5.Init.WordLength = UART_WORDLENGTH_9B;
  huart5.Init.StopBits = UART_STOPBITS_2;
  huart5.Init.Parity = UART_PARITY_EVEN;
  huart5.Init.Mode = UART_MODE_TX_RX;
  huart5.Init.HwFlowCtl = UART_HWCONTROL_NONE;
  huart5.Init.OverSampling = UART_OVERSAMPLING_16;
  huart5.Init.OneBitSampling = UART_ONE_BIT_SAMPLE_DISABLE;
  huart5.AdvancedInit.AdvFeatureInit = UART_ADVFEATURE_RXINVERT_INIT;
  huart5.AdvancedInit.RxPinLevelInvert = UART_ADVFEATURE_RXINV_ENABLE;
  if (HAL_UART_Init(&huart5) != HAL_OK)
  {
    Error_Handler();
  }

}

static void MX_UART7_Init(void)
{

  huart7.Instance = UART7;
  huart7.Init.BaudRate = 460800;
  huart7.Init.WordLength = UART_WORDLENGTH_8B;
  huart7.Init.StopBits = UART_STOPBITS_1;
  huart7.Init.Parity = UART_PARITY_NONE;
  huart7.Init.Mode = UART_MODE_TX_RX;
  huart7.Init.HwFlowCtl = UART_HWCONTROL_NONE;
  huart7.Init.OverSampling = UART_OVERSAMPLING_16;
  huart7.Init.OneBitSampling = UART_ONE_BIT_SAMPLE_DISABLE;
  huart7.AdvancedInit.AdvFeatureInit = UART_ADVFEATURE_NO_INIT;
  if (HAL_UART_Init(&huart7) != HAL_OK)
  {
    Error_Handler();
  }

}

static void MX_USART2_UART_Init(void)
{

  huart2.Instance = USART2;
  huart2.Init.BaudRate = 115200;
  huart2.Init.WordLength = UART_WORDLENGTH_8B;
  huart2.Init.StopBits = UART_STOPBITS_1;
  huart2.Init.Parity = UART_PARITY_NONE;
  huart2.Init.Mode = UART_MODE_TX_RX;
  huart2.Init.HwFlowCtl = UART_HWCONTROL_NONE;
  huart2.Init.OverSampling = UART_OVERSAMPLING_16;
  huart2.Init.OneBitSampling = UART_ONE_BIT_SAMPLE_DISABLE;
  huart2.AdvancedInit.AdvFeatureInit = UART_ADVFEATURE_NO_INIT;
  if (HAL_UART_Init(&huart2) != HAL_OK)
  {
    Error_Handler();
  }

}

static void MX_USART3_UART_Init(void)
{

  huart3.Instance = USART3;
  huart3.Init.BaudRate = 115200;
  huart3.Init.WordLength = UART_WORDLENGTH_8B;
  huart3.Init.StopBits = UART_STOPBITS_1;
  huart3.Init.Parity = UART_PARITY_NONE;
  huart3.Init.Mode = UART_MODE_TX_RX;
  huart3.Init.HwFlowCtl = UART_HWCONTROL_NONE;
  huart3.Init.OverSampling = UART_OVERSAMPLING_16;
  huart3.Init.OneBitSampling = UART_ONE_BIT_SAMPLE_DISABLE;
  huart3.AdvancedInit.AdvFeatureInit = UART_ADVFEATURE_NO_INIT;
  if (HAL_UART_Init(&huart3) != HAL_OK)
  {
    Error_Handler();
  }

}

static void MX_USB_OTG_FS_PCD_Init(void)
{

  hpcd_USB_OTG_FS.Instance = USB_OTG_FS;
  hpcd_USB_OTG_FS.Init.dev_endpoints = 6;
  hpcd_USB_OTG_FS.Init.speed = PCD_SPEED_FULL;
  hpcd_USB_OTG_FS.Init.dma_enable = DISABLE;
  hpcd_USB_OTG_FS.Init.phy_itface = PCD_PHY_EMBEDDED;
  hpcd_USB_OTG_FS.Init.Sof_enable = ENABLE;
  hpcd_USB_OTG_FS.Init.low_power_enable = DISABLE;
  hpcd_USB_OTG_FS.Init.lpm_enable = DISABLE;
  hpcd_USB_OTG_FS.Init.vbus_sensing_enable = ENABLE;
  hpcd_USB_OTG_FS.Init.use_dedicated_ep1 = DISABLE;
  if (HAL_PCD_Init(&hpcd_USB_OTG_FS) != HAL_OK)
  {
    Error_Handler();
  }

}

static void MX_DMA_Init(void)
{

  /* DMA controller clock enable */
  __HAL_RCC_DMA1_CLK_ENABLE();

  /* DMA interrupt init */
  /* DMA1_Stream0_IRQn interrupt configuration */
  HAL_NVIC_SetPriority(DMA1_Stream0_IRQn, 0, 0);
  HAL_NVIC_EnableIRQ(DMA1_Stream0_IRQn);
  /* DMA1_Stream2_IRQn interrupt configuration */
  HAL_NVIC_SetPriority(DMA1_Stream2_IRQn, 0, 0);
  HAL_NVIC_EnableIRQ(DMA1_Stream2_IRQn);
  /* DMA1_Stream3_IRQn interrupt configuration */
  HAL_NVIC_SetPriority(DMA1_Stream3_IRQn, 0, 0);
  HAL_NVIC_EnableIRQ(DMA1_Stream3_IRQn);

}

static void MX_GPIO_Init(void)
{
  GPIO_InitTypeDef GPIO_InitStruct = {0};

  /* GPIO Ports Clock Enable */
  __HAL_RCC_GPIOC_CLK_ENABLE();
  __HAL_RCC_GPIOF_CLK_ENABLE();
  __HAL_RCC_GPIOH_CLK_ENABLE();
  __HAL_RCC_GPIOA_CLK_ENABLE();
  __HAL_RCC_GPIOB_CLK_ENABLE();
  __HAL_RCC_GPIOE_CLK_ENABLE();
  __HAL_RCC_GPIOD_CLK_ENABLE();
  __HAL_RCC_GPIOG_CLK_ENABLE();

  /*Configure GPIO pin Output Level */
  HAL_GPIO_WritePin(GPIOF, d5_Pin|d7_Pin|d8_Pin|d6_Pin, GPIO_PIN_RESET);

  /*Configure GPIO pin Output Level */
  HAL_GPIO_WritePin(GPIOB, LD1_Pin|d1_Pin|d2_Pin|LD3_Pin
                          |LD2_Pin, GPIO_PIN_RESET);

  /*Configure GPIO pin Output Level */
  HAL_GPIO_WritePin(d3_GPIO_Port, d3_Pin, GPIO_PIN_RESET);

  /*Configure GPIO pin Output Level */
  HAL_GPIO_WritePin(d4_GPIO_Port, d4_Pin, GPIO_PIN_RESET);

  /*Configure GPIO pin Output Level */
  HAL_GPIO_WritePin(GPIOG, lock1_Pin|lock4_Pin|USB_PowerSwitchOn_Pin, GPIO_PIN_RESET);

  /*Configure GPIO pin : USER_Btn_Pin */
  GPIO_InitStruct.Pin = USER_Btn_Pin;
  GPIO_InitStruct.Mode = GPIO_MODE_IT_RISING;
  GPIO_InitStruct.Pull = GPIO_NOPULL;
  HAL_GPIO_Init(USER_Btn_GPIO_Port, &GPIO_InitStruct);

  /*Configure GPIO pins : d5_Pin d7_Pin d8_Pin d6_Pin */
  GPIO_InitStruct.Pin = d5_Pin|d7_Pin|d8_Pin|d6_Pin;
  GPIO_InitStruct.Mode = GPIO_MODE_OUTPUT_PP;
  GPIO_InitStruct.Pull = GPIO_NOPULL;
  GPIO_InitStruct.Speed = GPIO_SPEED_FREQ_LOW;
  HAL_GPIO_Init(GPIOF, &GPIO_InitStruct);

  /*Configure GPIO pins : LD1_Pin d1_Pin d2_Pin LD3_Pin
                           LD2_Pin */
  GPIO_InitStruct.Pin = LD1_Pin|d1_Pin|d2_Pin|LD3_Pin
                          |LD2_Pin;
  GPIO_InitStruct.Mode = GPIO_MODE_OUTPUT_PP;
  GPIO_InitStruct.Pull = GPIO_NOPULL;
  GPIO_InitStruct.Speed = GPIO_SPEED_FREQ_LOW;
  HAL_GPIO_Init(GPIOB, &GPIO_InitStruct);

  /*Configure GPIO pin : d3_Pin */
  GPIO_InitStruct.Pin = d3_Pin;
  GPIO_InitStruct.Mode = GPIO_MODE_OUTPUT_PP;
  GPIO_InitStruct.Pull = GPIO_NOPULL;
  GPIO_InitStruct.Speed = GPIO_SPEED_FREQ_LOW;
  HAL_GPIO_Init(d3_GPIO_Port, &GPIO_InitStruct);

  /*Configure GPIO pin : d4_Pin */
  GPIO_InitStruct.Pin = d4_Pin;
  GPIO_InitStruct.Mode = GPIO_MODE_OUTPUT_PP;
  GPIO_InitStruct.Pull = GPIO_NOPULL;
  GPIO_InitStruct.Speed = GPIO_SPEED_FREQ_LOW;
  HAL_GPIO_Init(d4_GPIO_Port, &GPIO_InitStruct);

  /*Configure GPIO pins : lock1_Pin lock4_Pin USB_PowerSwitchOn_Pin */
  GPIO_InitStruct.Pin = lock1_Pin|lock4_Pin|USB_PowerSwitchOn_Pin;
  GPIO_InitStruct.Mode = GPIO_MODE_OUTPUT_PP;
  GPIO_InitStruct.Pull = GPIO_NOPULL;
  GPIO_InitStruct.Speed = GPIO_SPEED_FREQ_LOW;
  HAL_GPIO_Init(GPIOG, &GPIO_InitStruct);

  /*Configure GPIO pin : USB_OverCurrent_Pin */
  GPIO_InitStruct.Pin = USB_OverCurrent_Pin;
  GPIO_InitStruct.Mode = GPIO_MODE_INPUT;
  GPIO_InitStruct.Pull = GPIO_NOPULL;
  HAL_GPIO_Init(USB_OverCurrent_GPIO_Port, &GPIO_InitStruct);

  /*Configure GPIO pins : lock6_Pin lock7_Pin */
  GPIO_InitStruct.Pin = lock6_Pin|lock7_Pin;
  GPIO_InitStruct.Mode = GPIO_MODE_INPUT;
  GPIO_InitStruct.Pull = GPIO_PULLUP;
  HAL_GPIO_Init(GPIOG, &GPIO_InitStruct);

  /*Configure GPIO pin : lock8_Pin */
  GPIO_InitStruct.Pin = lock8_Pin;
  GPIO_InitStruct.Mode = GPIO_MODE_INPUT;
  GPIO_InitStruct.Pull = GPIO_PULLUP;
  HAL_GPIO_Init(lock8_GPIO_Port, &GPIO_InitStruct);

}

 /* MPU Configuration */

void MPU_Config(void)
{
  MPU_Region_InitTypeDef MPU_InitStruct = {0};

  /* Disables the MPU */
  HAL_MPU_Disable();

  /** Initializes and configures the Region and the memory to be protected
  */
  MPU_InitStruct.Enable = MPU_REGION_ENABLE;
  MPU_InitStruct.Number = MPU_REGION_NUMBER0;
  MPU_InitStruct.BaseAddress = 0x0;
  MPU_InitStruct.Size = MPU_REGION_SIZE_4GB;
  MPU_InitStruct.SubRegionDisable = 0x87;
  MPU_InitStruct.TypeExtField = MPU_TEX_LEVEL0;
  MPU_InitStruct.AccessPermission = MPU_REGION_NO_ACCESS;
  MPU_InitStruct.DisableExec = MPU_INSTRUCTION_ACCESS_DISABLE;
  MPU_InitStruct.IsShareable = MPU_ACCESS_SHAREABLE;
  MPU_InitStruct.IsCacheable = MPU_ACCESS_NOT_CACHEABLE;
  MPU_InitStruct.IsBufferable = MPU_ACCESS_NOT_BUFFERABLE;

  HAL_MPU_ConfigRegion(&MPU_InitStruct);
  /* Enables the MPU */
  HAL_MPU_Enable(MPU_PRIVILEGED_DEFAULT);

}

void Error_Handler(void)
{
  __disable_irq();
  while (1) {
  }
}
#ifdef USE_FULL_ASSERT
/**
  * @brief  Reports the name of the source file and the source line number
  *         where the assert_param error has occurred.
  * @param  file: pointer to the source file name
  * @param  line: assert_param error line source number
  * @retval None
  */
void assert_failed(uint8_t *file, uint32_t line)
{
  /* USER CODE BEGIN 6 */
  /* User can add his own implementation to report the file name and line
     number, ex: printf("Wrong parameters value: file %s on line %d\r\n", file,
     line) */
  /* USER CODE END 6 */
}
#endif /* USE_FULL_ASSERT */
